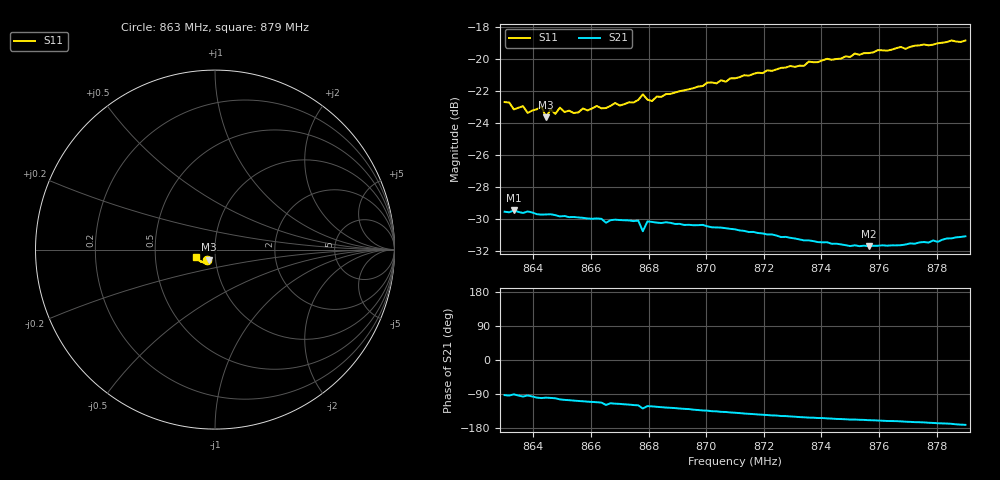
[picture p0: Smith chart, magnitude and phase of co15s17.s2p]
# HZ S RI R 50
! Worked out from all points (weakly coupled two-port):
!   101 points, 863 MHz to 879 MHz, reference 50 ohm
!   highest |S21| = -29.47 dB at 863.32 MHz (marker M1); lowest = -31.7 dB at 875.64 MHz (marker M2)
!   lowest |S11| = -23.6 dB at 864.44 MHz (marker M3), VSWR 1.14, Z = 46.3 - j5.2 ohm
!   |S11| at or under -10 dB: start of sweep to end of sweep
!   S12 and S22 are empty: the file has one direction only
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8.63e8  -0.0463 -0.057  -0.00154 -0.0333  0 0  0 0
8.6316e8  -0.0461 -0.0569  -0.00224 -0.0331  0 0  0 0
8.6332e8  -0.0396 -0.0573  -0.000325 -0.0336  0 0  0 0
8.6364e8  -0.0438 -0.0563  -0.00373 -0.0328  0 0  0 0
8.638e8  -0.0374 -0.0567  -0.00203 -0.0333  0 0  0 0
8.6428e8  -0.042 -0.0573  -0.00593 -0.0321  0 0  0 0
8.6444e8  -0.0349 -0.0558  -0.00529 -0.0322  0 0  0 0
8.646e8  -0.0395 -0.0575  -0.00571 -0.0322  0 0  0 0
8.6476e8  -0.0373 -0.0562  -0.00622 -0.0319  0 0  0 0
8.6492e8  -0.0427 -0.0562  -0.00773 -0.0313  0 0  0 0
8.654e8  -0.0366 -0.0572  -0.00944 -0.0306  0 0  0 0
8.6572e8  -0.0374 -0.0593  -0.0103 -0.0301  0 0  0 0
8.6652e8  -0.0372 -0.0597  -0.0147 -0.027  0 0  0 0
8.6764e8  -0.0397 -0.0632  -0.0154 -0.0272  0 0  0 0
8.678e8  -0.044 -0.064  -0.0178 -0.0228  0 0  0 0
8.6796e8  -0.0388 -0.0639  -0.0163 -0.0265  0 0  0 0
8.6844e8  -0.039 -0.0656  -0.0174 -0.0253  0 0  0 0
8.71e8  -0.0509 -0.0708  -0.0222 -0.0192  0 0  0 0
8.7372e8  -0.0679 -0.0706  -0.0238 -0.0126  0 0  0 0
8.7564e8  -0.0832 -0.0634  -0.0242 -0.00938  0 0  0 0
8.7644e8  -0.0895 -0.0591  -0.0247 -0.00847  0 0  0 0
8.79e8  -0.1074 -0.0399  -0.0276 -0.00431  0 0  0 0
